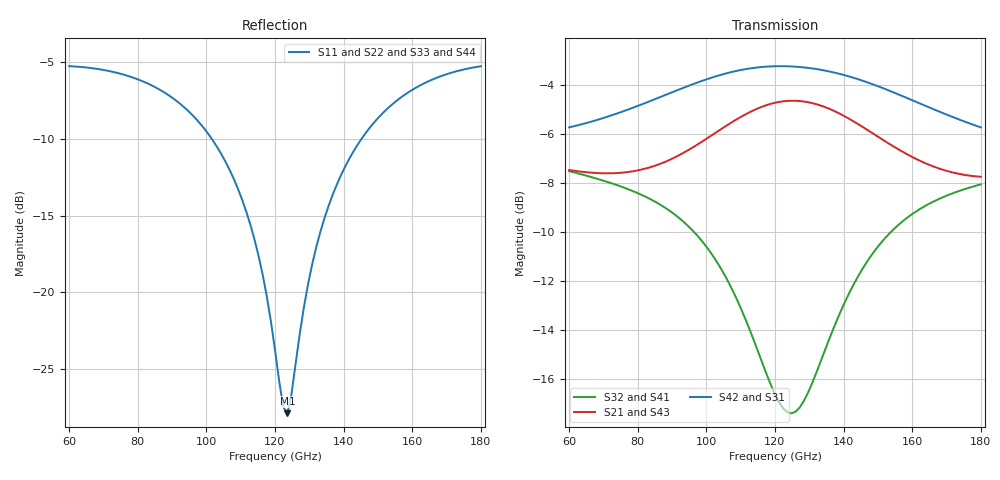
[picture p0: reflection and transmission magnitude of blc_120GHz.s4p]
#  GHZ S DB R 50
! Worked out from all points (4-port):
!   101 points, 60 GHz to 180 GHz, reference 50 ohm
!   strongest paths, dB at 60 GHz, 90 GHz, 120 GHz, 150 GHz, 180 GHz:
!     S42: -5.7, -4.3, -3.2, -4.0, -5.7
!     S31: -5.7, -4.3, -3.2, -4.0, -5.7
!     S21: -7.5, -7.0, -4.7, -6.1, -7.7
!     S43: -7.5, -7.0, -4.7, -6.1, -7.8
!     S32: -7.5, -9.2, -16.6, -10.6, -8.1
!     S41: -7.5, -9.2, -16.6, -10.6, -8.0
!   lowest |S11| = -27.9 dB at 123.6 GHz (marker M1), VSWR 1.08, Z = 54.1 - j0.954 ohm
!   |S11| at or under -10 dB: 101.6 GHz to 145.2 GHz (43.64 GHz wide, 35.4 % of centre)
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60  -5.26 158.0  -7.47 -47.8  -5.72 -80.0  -7.51 -62.5
    -7.47 -47.8  -5.26 158.0  -7.51 -62.5  -5.72 -80.0
    -5.72 -80.0  -7.51 -62.5  -5.26 158.0  -7.46 -47.9
    -7.51 -62.5  -5.72 -80.0  -7.46 -47.9  -5.26 158.0
103.2  -10.56 107.0  -5.90 -69.9  -3.62 -146.0  -11.26 -110.5
       -5.90 -69.9  -10.55 107.0  -11.26 -110.6  -3.62 -146.0
       -3.62 -146.0  -11.26 -110.6  -10.57 107.0  -5.90 -70.0
       -11.26 -110.5  -3.62 -146.0  -5.90 -70.0  -10.55 107.1
114  -16.54 83.3  -5.01 -82.1  -3.29 -166.2  -14.50 -115.8
     -5.01 -82.1  -16.52 83.2  -14.50 -115.8  -3.29 -166.2
     -3.29 -166.2  -14.50 -115.8  -16.56 83.1  -5.01 -82.2
     -14.50 -115.8  -3.29 -166.2  -5.01 -82.2  -16.53 83.3
123.6  -27.90 -12.6  -4.64 -95.5  -3.23 175.3  -17.36 -97.8
       -4.64 -95.5  -27.78 -12.0  -17.38 -98.0  -3.23 175.4
       -3.23 175.3  -17.38 -98.0  -27.74 -13.3  -4.65 -95.6
       -17.36 -97.8  -3.23 175.4  -4.65 -95.6  -27.86 -12.1
132  -17.08 -91.0  -4.77 -107.7  -3.34 159.3  -15.75 -76.1
     -4.77 -107.7  -17.09 -90.6  -15.77 -76.1  -3.34 159.3
     -3.34 159.3  -15.77 -76.1  -17.03 -90.7  -4.78 -107.8
     -15.75 -76.1  -3.34 159.3  -4.78 -107.8  -17.10 -90.8
141.6  -11.32 -112.7  -5.37 -120.1  -3.65 141.4  -12.49 -74.5
       -5.37 -120.1  -11.32 -112.5  -12.51 -74.5  -3.64 141.5
       -3.65 141.4  -12.51 -74.5  -11.29 -112.5  -5.38 -120.2
       -12.49 -74.5  -3.64 141.5  -5.38 -120.2  -11.32 -112.6
180  -5.26 -160.9  -7.75 -144.7  -5.73 80.5  -8.04 -117.0
     -7.75 -144.7  -5.26 -160.7  -8.05 -116.9  -5.73 80.5
     -5.73 80.5  -8.05 -116.9  -5.25 -160.7  -7.76 -144.8
     -8.04 -117.0  -5.73 80.5  -7.76 -144.8  -5.26 -160.8
